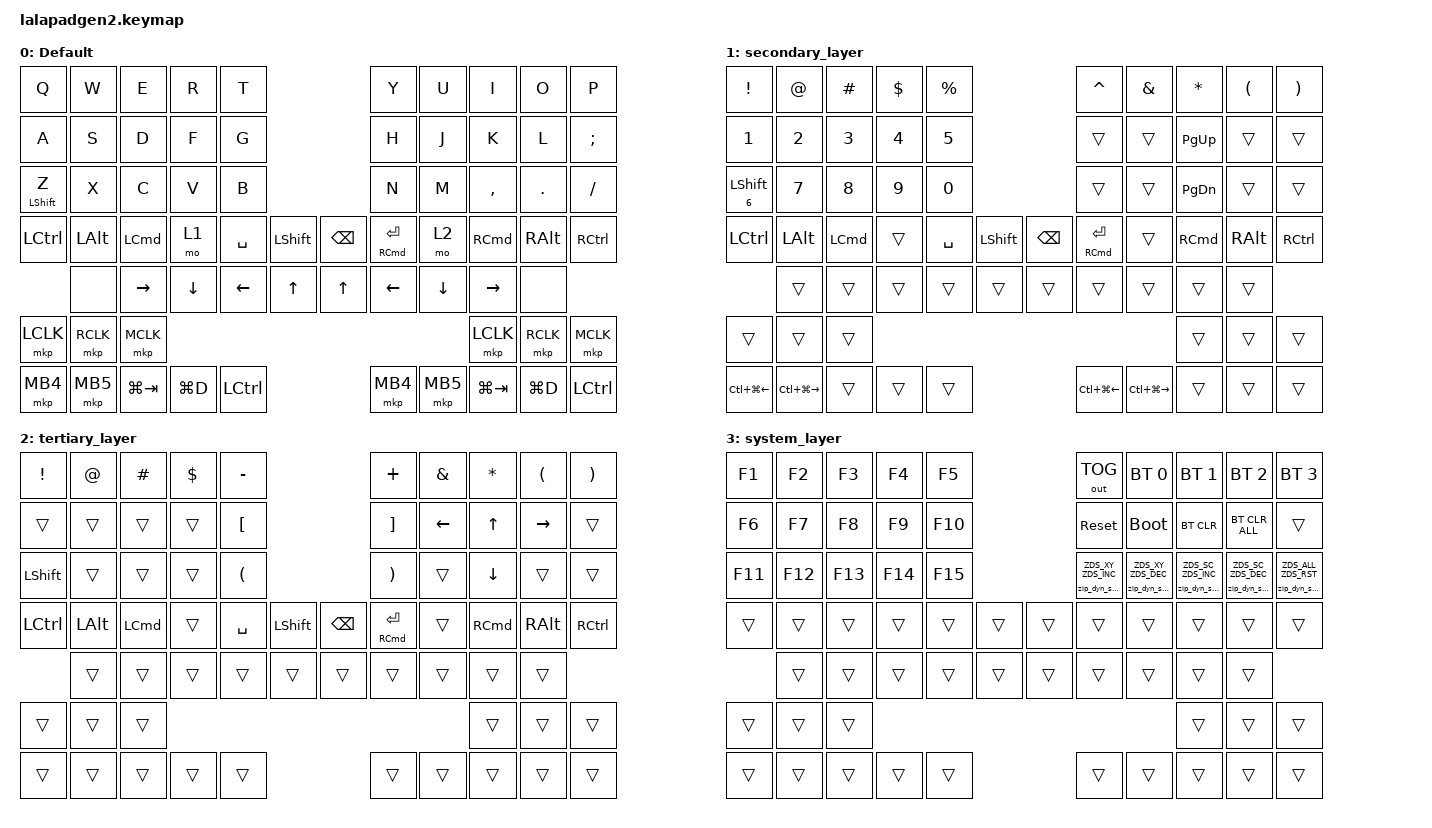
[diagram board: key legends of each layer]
#include <input/processors.dtsi>
#include <dt-bindings/zmk/zip_dynamic_scale.h>
#include <behaviors.dtsi>
#include <dt-bindings/zmk/bt.h>
#include <dt-bindings/zmk/keys.h>
#include <dt-bindings/zmk/outputs.h>
#include <dt-bindings/zmk/pointing.h>

#define DEFAULT_LAYER   0
#define SECONDARY_LAYER 1
#define TERTIARY_LAYER  2
#define SYSTEM_LAYER    3

&mt { quick-tap-ms = <200>; };

&lt { quick-tap-ms = <200>; };

/ {
    behaviors {
        zip_dyn_scale: zip_dyn_scale {
            compatible = "zmk,behavior-zip-dynamic-scale";
            #binding-cells = <2>;
        };

        zip_dyn_scale_set: zip_dyn_scale_set {
            compatible = "zmk,behavior-zip-dynamic-scale-set";
            #binding-cells = <2>;
        };

        mt2: mod_tap2 {
            compatible = "zmk,behavior-hold-tap";
            #binding-cells = <2>;
            flavor = "tap-preferred";
            tapping-term-ms = <200>;
            quick-tap-ms = <200>;
            require-prior-idle-ms = <125>;
            bindings = <&kp>, <&kp>;
        };

        tap_dance_layer_1and2: tap_dance_layer_1and2 {
            compatible = "zmk,behavior-tap-dance";
            label = "td_mo12";
            #binding-cells = <0>;
            bindings = <&mo 1>, <&mo 2>;
        };
    };

    combos {
        compatible = "zmk,combos";

        CONBO_GRAVE {
            bindings = <&kp GRAVE>;
            key-positions = <0 1>;
        };

        COMBO_TAB {
            bindings = <&kp TAB>;
            key-positions = <10 11>;
        };

        L_SHIFT {
            bindings = <&kp LSHIFT>;
            key-positions = <20 21>;
        };

        R_SHIFT {
            bindings = <&kp RSHIFT>;
            key-positions = <28 29>;
        };

        QUOTATION {
            bindings = <&kp SINGLE_QUOTE>;
            key-positions = <18 19>;
        };

        BACKSPC {
            bindings = <&kp BACKSPACE>;
            key-positions = <8 9>;
        };
    };

    keymap {
        compatible = "zmk,keymap";

        DEFAULT_LAYER {
            display-name = "Default";
            bindings = <
&kp Q             &kp W         &kp E             &kp R      &kp T                                     &kp Y                    &kp U     &kp I              &kp O          &kp P
&kp A             &kp S         &kp D             &kp F      &kp G                                     &kp H                    &kp J     &kp K              &kp L          &kp SEMICOLON
&mt LEFT_SHIFT Z  &kp X         &kp C             &kp V      &kp B                                     &kp N                    &kp M     &kp COMMA          &kp PERIOD     &kp SLASH
&kp LEFT_CONTROL  &kp LEFT_ALT  &kp LEFT_COMMAND  &mo 1      &kp SPACE  &kp LEFT_SHIFT  &kp BACKSPACE  &mt RIGHT_COMMAND ENTER  &mo 2     &kp RIGHT_COMMAND  &kp RIGHT_ALT  &kp RIGHT_CONTROL
                  &none         &kp RIGHT         &kp DOWN   &kp LEFT   &kp UP          &kp UP         &kp LEFT                 &kp DOWN  &kp RIGHT          &none
&mkp LCLK         &mkp RCLK     &mkp MCLK                                                                                                 &mkp LCLK          &mkp RCLK      &mkp MCLK
&mkp MB4          &mkp MB5      &kp LG(TAB)       &kp LG(D)  &kp LCTRL                                 &mkp MB4                 &mkp MB5  &kp LG(TAB)        &kp LG(D)      &kp LCTRL
            >;
        };

        SECONDARY_LAYER {
            display-name = "secondary_layer";
            bindings = <
&kp EXCLAMATION          &kp AT_SIGN        &kp HASH          &kp DOLLAR    &kp PERCENT                                  &kp CARET                &kp AMPERSAND      &kp ASTERISK       &kp LEFT_PARENTHESIS  &kp RIGHT_PARENTHESIS
&kp NUMBER_1             &kp NUMBER_2       &kp NUMBER_3      &kp NUMBER_4  &kp NUMBER_5                                 &trans                   &trans             &kp PAGE_UP        &trans                &trans
&mt NUMBER_6 LEFT_SHIFT  &kp NUMBER_7       &kp NUMBER_8      &kp NUMBER_9  &kp NUMBER_0                                 &trans                   &trans             &kp PAGE_DOWN      &trans                &trans
&kp LEFT_CONTROL         &kp LEFT_ALT       &kp LEFT_COMMAND  &trans        &kp SPACE     &kp LEFT_SHIFT  &kp BACKSPACE  &mt RIGHT_COMMAND ENTER  &trans             &kp RIGHT_COMMAND  &kp RIGHT_ALT         &kp RIGHT_CONTROL
                         &trans             &trans            &trans        &trans        &trans          &trans         &trans                   &trans             &trans             &trans
&trans                   &trans             &trans                                                                                                                   &trans             &trans                &trans
&kp LC(LG(LEFT))         &kp LC(LG(RIGHT))  &trans            &trans        &trans                                       &kp LC(LG(LEFT))         &kp LC(LG(RIGHT))  &trans             &trans                &trans
            >;
        };

        TERTIARY_LAYER {
            display-name = "tertiary_layer";
            bindings = <
&kp EXCLAMATION   &kp AT_SIGN   &kp HASH          &kp DOLLAR  &kp MINUS                                            &kp PLUS                 &kp AMPERSAND   &kp ASTERISK       &kp LEFT_PARENTHESIS  &kp RIGHT_PARENTHESIS
&trans            &trans        &trans            &trans      &kp LEFT_BRACKET                                     &kp RIGHT_BRACKET        &kp LEFT_ARROW  &kp UP_ARROW       &kp RIGHT_ARROW       &trans
&kp LEFT_SHIFT    &trans        &trans            &trans      &kp LEFT_PARENTHESIS                                 &kp RIGHT_PARENTHESIS    &trans          &kp DOWN_ARROW     &trans                &trans
&kp LEFT_CONTROL  &kp LEFT_ALT  &kp LEFT_COMMAND  &trans      &kp SPACE             &kp LEFT_SHIFT  &kp BACKSPACE  &mt RIGHT_COMMAND ENTER  &trans          &kp RIGHT_COMMAND  &kp RIGHT_ALT         &kp RIGHT_CONTROL
                  &trans        &trans            &trans      &trans                &trans          &trans         &trans                   &trans          &trans             &trans
&trans            &trans        &trans                                                                                                                      &trans             &trans                &trans
&trans            &trans        &trans            &trans      &trans                                               &trans                   &trans          &trans             &trans                &trans
            >;
        };

        SYSTEM_LAYER {
            display-name = "system_layer";
            bindings = <
&kp F1   &kp F2   &kp F3   &kp F4   &kp F5                   &out OUT_TOG                   &bt BT_SEL 0                   &bt BT_SEL 1                   &bt BT_SEL 2                   &bt BT_SEL 3
&kp F6   &kp F7   &kp F8   &kp F9   &kp F10                  &sys_reset                     &bootloader                    &bt BT_CLR                     &bt BT_CLR_ALL                 &trans
&kp F11  &kp F12  &kp F13  &kp F14  &kp F15                  &zip_dyn_scale ZDS_XY ZDS_INC  &zip_dyn_scale ZDS_XY ZDS_DEC  &zip_dyn_scale ZDS_SC ZDS_INC  &zip_dyn_scale ZDS_SC ZDS_DEC  &zip_dyn_scale ZDS_ALL ZDS_RST
&trans   &trans   &trans   &trans   &trans   &trans  &trans  &trans                         &trans                         &trans                         &trans                         &trans
         &trans   &trans   &trans   &trans   &trans  &trans  &trans                         &trans                         &trans                         &trans
&trans   &trans   &trans                                                                                                   &trans                         &trans                         &trans
&trans   &trans   &trans   &trans   &trans                   &trans                         &trans                         &trans                         &trans                         &trans
            >;
        };
    };

    conditional_layers {
        compatible = "zmk,conditional-layers";

        Cond_Syslayer {
            if-layers = <1 2>;
            then-layer = <3>;
        };
    };
};
